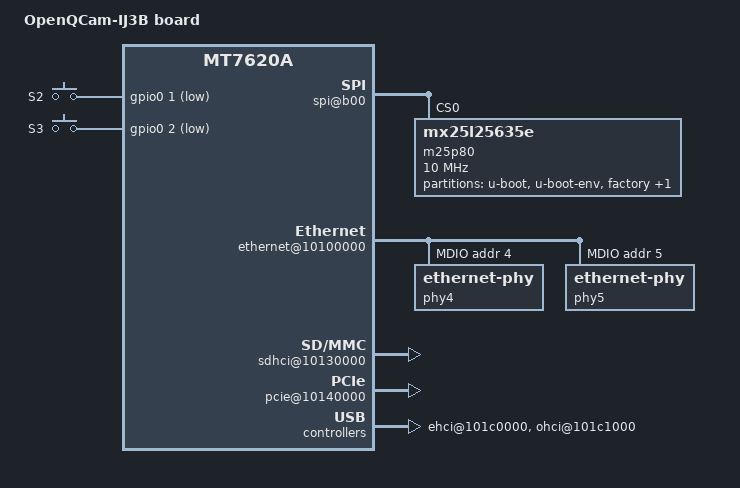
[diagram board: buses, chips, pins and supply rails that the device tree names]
/dts-v1/;

/include/ "mt7620a.dtsi"

/ {
	compatible = "OpenQCam-IJ3B board", "ralink,mt7620a-soc";
	model = "OpenQCam-IJ3B board";

	palmbus@10000000 {
		spi@b00 {
			status = "okay";

			m25p80@0 {
				#address-cells = <1>;
				#size-cells = <1>;
				compatible = "mx25l25635e";
				reg = <0 0>;
				linux,modalias = "m25p80", "mx25l25635e";
				spi-max-frequency = <10000000>;

				partition@0 {
					label = "u-boot";
					reg = <0x0 0x30000>;
					read-only;
				};

				partition@30000 {
					label = "u-boot-env";
					reg = <0x30000 0x10000>;
					read-only;
				};

				factory: partition@40000 {
					label = "factory";
					reg = <0x40000 0x10000>;
					#read-only;
				};

				partition@50000 {
					label = "firmware";
					reg = <0x50000 0x1fb0000>;
				};
			};
		};
	};

	pinctrl {
		state_default: pinctrl0 {
			gpio {
				ralink,group = "i2c", "uartf";
				ralink,function = "gpio";
			};
		};
	};

	ethernet@10100000 {
		status = "okay";

		pinctrl-names = "default";
		pinctrl-0 = <&rgmii1_pins &rgmii2_pins &mdio_pins>;

		ralink,port-map = "llllw";

		port@4 {
			status = "okay";
			phy-mode = "rgmii";
			phy-handle = <&phy4>;
		};

		port@5 {
			status = "okay";
			phy-mode = "rgmii";
			phy-handle = <&phy5>;
		};

		mdio-bus {
			status = "okay";

			phy4: ethernet-phy@4 {
				reg = <4>;
				phy-mode = "rgmii";
			};

			phy5: ethernet-phy@5 {
				reg = <5>;
				phy-mode = "rgmii";
			};
		};
	};

	gsw@10110000 {
		ralink,port4 = "gmac";
	};

	sdhci@10130000 {
		status = "okay";
	};

	pcie@10140000 {
		status = "okay";
	};

	gpio-keys-polled {
		compatible = "gpio-keys";
		#address-cells = <1>;
		#size-cells = <0>;
		poll-interval = <20>;
		s2 {
			label = "S2";
			gpios = <&gpio0 1 1>;
			linux,code = <0x100>;
		};
		s3 {
			label = "S3";
			gpios = <&gpio0 2 1>;
			linux,code = <0x101>;
		};
	};

	wmac@10180000{
                ralink,mtd-eeprom = <&factory 0>;
        };

	ehci@101c0000 {
		status = "okay";
	};

	ohci@101c1000 {
		status = "okay";
	};
};
